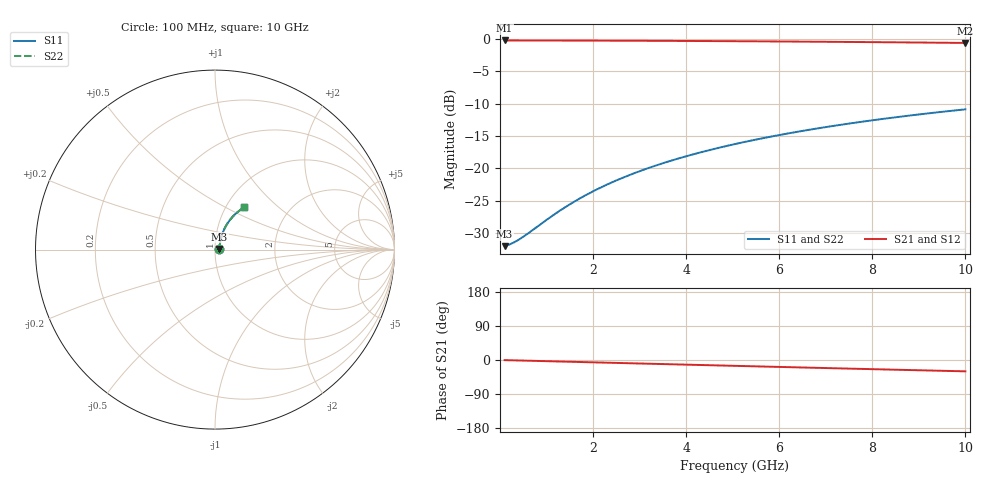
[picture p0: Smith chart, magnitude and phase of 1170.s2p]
# Hz S RI R 50.00
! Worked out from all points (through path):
!   100 points, 100 MHz to 10 GHz, reference 50 ohm
!   highest |S21| = -0.22 dB at 100 MHz (marker M1); lowest = -0.6 dB at 10 GHz (marker M2)
!   group delay of S21, straight-line fit = 8.33 ps
!   lowest |S11| = -32.0 dB at 100 MHz (marker M3), VSWR 1.05, Z = 52.6 + j0.31 ohm
!   |S11| at or under -10 dB: start of sweep to end of sweep
!   |S22| runs from -32.0 to -10.9 dB; largest |S21 - S12| = 0
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1e8  0.0249 0.00294  0.9751 -0.00524  0.9751 -0.00524  0.0249 0.00294
2e8  0.0251 0.00588  0.9749 -0.0105  0.9749 -0.0105  0.0251 0.00588
3e8  0.0253 0.00882  0.9747 -0.0157  0.9747 -0.0157  0.0253 0.00882
4e8  0.0255 0.0118  0.9744 -0.0209  0.9744 -0.0209  0.0255 0.0118
6e8  0.026 0.0176  0.9739 -0.0314  0.9739 -0.0314  0.026 0.0176
1e9  0.0272 0.0293  0.9725 -0.0523  0.9725 -0.0523  0.0272 0.0293
1.3e9  0.0284 0.038  0.9711 -0.0679  0.9711 -0.0679  0.0284 0.038
1.5e9  0.0294 0.0438  0.97 -0.0783  0.97 -0.0783  0.0294 0.0438
1.8e9  0.0311 0.0524  0.968 -0.0938  0.968 -0.0938  0.0311 0.0524
2.1e9  0.033 0.061  0.9658 -0.1093  0.9658 -0.1093  0.033 0.061
2.5e9  0.036 0.0723  0.9623 -0.1298  0.9623 -0.1298  0.036 0.0723
2.9e9  0.0394 0.0835  0.9583 -0.1501  0.9583 -0.1501  0.0394 0.0835
3.4e9  0.0444 0.0971  0.9525 -0.1753  0.9525 -0.1753  0.0444 0.0971
3.8e9  0.0488 0.1078  0.9472 -0.1952  0.9472 -0.1952  0.0488 0.1078
4.2e9  0.0537 0.1183  0.9415 -0.2149  0.9415 -0.2149  0.0537 0.1183
4.6e9  0.0591 0.1285  0.9352 -0.2343  0.9352 -0.2343  0.0591 0.1285
5.1e9  0.0663 0.1409  0.9266 -0.2583  0.9266 -0.2583  0.0663 0.1409
5.9e9  0.0791 0.1598  0.9114 -0.2956  0.9114 -0.2956  0.0791 0.1598
6.7e9  0.0933 0.1775  0.8944 -0.3318  0.8944 -0.3318  0.0933 0.1775
7.5e9  0.1089 0.1937  0.8758 -0.3665  0.8758 -0.3665  0.1089 0.1937
8.4e9  0.1276 0.2102  0.8531 -0.4039  0.8531 -0.4039  0.1276 0.2102
1e10  0.1639 0.2347  0.8086 -0.4655  0.8086 -0.4655  0.1639 0.2347
